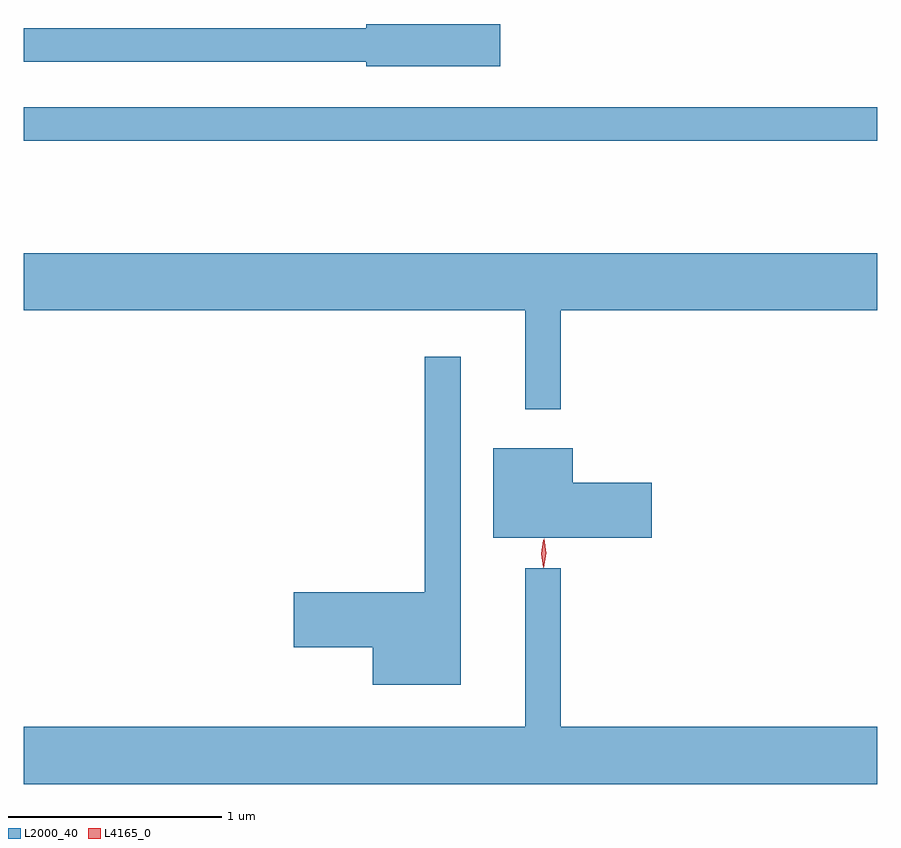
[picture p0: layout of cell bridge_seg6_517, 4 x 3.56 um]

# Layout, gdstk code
import gdstk
lib = gdstk.Library(unit=1e-6, precision=1e-09)
def R(c, l, rs):  # rectangles x0, y0, x1, y1
    for r in rs: c.add(gdstk.rectangle(r[:2], r[2:], *l))
def P(c, l, *ps):  # polygons
    for p in ps: c.add(gdstk.Polygon(p, *l))
L2000_40 = (2000, 40)
L4165_0 = (4165, 0)

bridge_seg6_517 = lib.new_cell('bridge_seg6_517')
R(bridge_seg6_517, L2000_40, [(596.241,1664.051,600.241,1664.209)])
P(bridge_seg6_517, L2000_40, [(598.474,1664.599),(597.846,1664.599),(597.846,1664.579),(596.241,1664.579),(596.241,1664.421),(597.846,1664.421),(597.846,1664.401),(598.474,1664.401)],
  [(598.759,1663.256),(600.241,1663.256),(600.241,1663.524),(596.241,1663.524),(596.241,1663.256),(598.591,1663.256),(598.591,1662.793),(598.759,1662.793)],
  [(598.289,1663.038),(598.121,1663.038),(598.121,1661.934),(597.506,1661.934),(597.506,1661.676),(597.876,1661.676),(597.876,1661.501),(598.289,1661.501)],
  [(599.184,1662.449),(598.814,1662.449),(598.814,1662.609),(598.441,1662.609),(598.441,1662.191),(599.184,1662.191)],
  [(600.241,1661.304),(598.759,1661.304),(598.759,1662.048),(598.591,1662.048),(598.591,1661.304),(596.241,1661.304),(596.241,1661.036),(600.241,1661.036)])
P(bridge_seg6_517, L4165_0, [(598.678,1662.05),(598.67,1662.118),(598.68,1662.185),(598.681,1662.186),(598.681,1662.185),(598.69,1662.118),(598.679,1662.05),(598.679,1662.05)],
  [(598.676,1662.053),(598.667,1662.116),(598.676,1662.179),(598.677,1662.18),(598.677,1662.179),(598.687,1662.116),(598.677,1662.053),(598.677,1662.053)])

lib.write_gds('bridge_seg6_517.gds')
